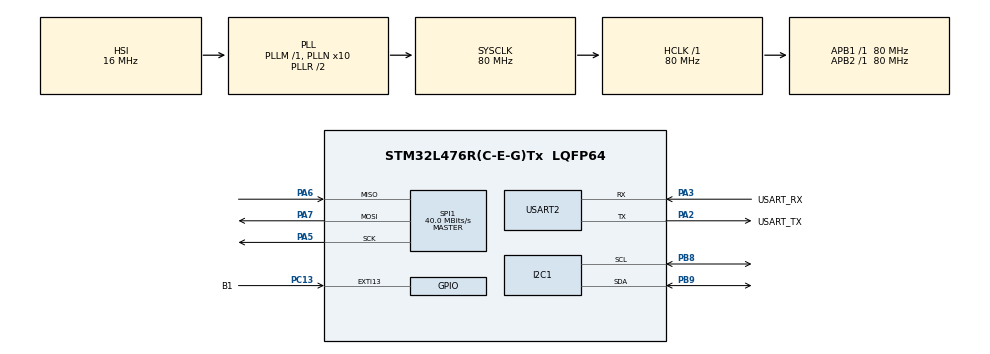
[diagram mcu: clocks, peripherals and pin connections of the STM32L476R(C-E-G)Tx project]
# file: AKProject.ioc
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I2C1.Timing=0x10D19CE4
Mcu.Family=STM32L4
Mcu.Name=STM32L476R(C-E-G)Tx
Mcu.Package=LQFP64
NVIC.EXTI15_10_IRQn=true\:0\:0\:false\:false\:true\:true\:true\:true
NVIC.PriorityGroup=NVIC_PRIORITYGROUP_4
NVIC.USART2_IRQn=true\:0\:0\:false\:false\:true\:true\:true\:true
PA13\ (JTMS-SWDIO).GPIO_Label=TMS
PA13\ (JTMS-SWDIO).Signal=SYS_JTMS-SWDIO
PA14\ (JTCK-SWCLK).GPIO_Label=TCK
PA14\ (JTCK-SWCLK).Signal=SYS_JTCK-SWCLK
PA2.GPIO_Label=USART_TX
PA2.GPIO_Mode=GPIO_MODE_AF_PP
PA2.GPIO_PuPd=GPIO_NOPULL
PA2.GPIO_Speed=GPIO_SPEED_FREQ_VERY_HIGH
PA2.Mode=Asynchronous
PA2.Signal=USART2_TX
PA3.GPIO_Label=USART_RX
PA3.GPIO_Mode=GPIO_MODE_AF_PP
PA3.GPIO_PuPd=GPIO_NOPULL
PA3.GPIO_Speed=GPIO_SPEED_FREQ_VERY_HIGH
PA3.Mode=Asynchronous
PA3.Signal=USART2_RX
PA5.Mode=Full_Duplex_Master
PA5.Signal=SPI1_SCK
PA6.Mode=Full_Duplex_Master
PA6.Signal=SPI1_MISO
PA7.Mode=Full_Duplex_Master
PA7.Signal=SPI1_MOSI
PB3\ (JTDO-TRACESWO).GPIO_Label=SWO
PB3\ (JTDO-TRACESWO).Signal=SYS_JTDO-SWO
PB8.Mode=I2C
PB8.Signal=I2C1_SCL
PB9.Mode=I2C
PB9.Signal=I2C1_SDA
PC13.GPIO_Label=B1
PC13.Signal=GPXTI13
PC14-OSC32_IN\ (PC14).Signal=RCC_OSC32_IN
PC15-OSC32_OUT\ (PC15).Signal=RCC_OSC32_OUT
PH0-OSC_IN\ (PH0).Signal=RCC_OSC_IN
PH1-OSC_OUT\ (PH1).Signal=RCC_OSC_OUT
ProjectManager.HeapSize=0x200
ProjectManager.StackSize=0x400
ProjectManager.TargetToolchain=STM32CubeIDE
RCC.ADCFreq_Value=64000000
RCC.AHBFreq_Value=80000000
RCC.APB1Freq_Value=80000000
RCC.APB1TimFreq_Value=80000000
RCC.APB2Freq_Value=80000000
RCC.APB2TimFreq_Value=80000000
RCC.CortexFreq_Value=80000000
RCC.HCLKFreq_Value=80000000
RCC.HSE_VALUE=8000000
RCC.HSI_VALUE=16000000
RCC.LSE_VALUE=32768
RCC.MSI_VALUE=4000000
RCC.PLLN=10
RCC.PLLSourceVirtual=RCC_PLLSOURCE_HSI
RCC.PREFETCH_ENABLE=1
RCC.SYSCLKFreq_VALUE=80000000
RCC.SYSCLKSource=RCC_SYSCLKSOURCE_PLLCLK
RCC.USBFreq_Value=64000000
RCC.VCOOutputFreq_Value=160000000
SPI1.CalculateBaudRate=40.0 MBits/s
SPI1.Direction=SPI_DIRECTION_2LINES
SPI1.Mode=SPI_MODE_MASTER
SPI1.VirtualType=VM_MASTER
USART2.VirtualMode-Asynchronous=VM_ASYNC
board=NUCLEO-L476RG

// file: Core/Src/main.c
/* USER CODE BEGIN Header */
/**
 ******************************************************************************
 * @file           : main.c
 * @brief          : Tic-Tac-Toe game for two players or against a computer, controlled via UART
 *
 * @external_files
 * - **ssd1306.h**: Library for controlling the SSD1306 OLED display, used for rendering the game interface.
 * - **ssd1306_tests.h**: Contains test functions for verifying the functionality of the SSD1306 display.
 * - **ssd1306_fonts.h**: Includes font definitions for rendering text on the SSD1306 OLED display.
 * - **sx1509.h**: Header for the SX1509 I/O expander, used for managing additional inputs/outputs.
 * - **gameConfiguration.h**: Defines game settings and parameters, such as board size and player settings.
 * - **fieldController.h**: Manages the state of the game board (e.g., placing pieces, checking for a win).
 * - **minimax.h**: Contains the Minimax algorithm used for the computer's moves in the single-player mode.
 * - **winChecks.h**: Contains functions for checking if a player has won the game by evaluating horizontal, vertical, and diagonal lines of pieces on the board.
 * - **findRandom.h**: Provides functions for finding random coordinates on the game field.
 * - **drawField.h**: Responsible for rendering the game field on the display.
 *
 *
 * This program implements the classic Tic-Tac-Toe game with options for single-player or
 * two-player modes. The game runs on the STM32L476RG microcontroller and uses the SSD1306 OLED
 * display along with UART for user interaction.
 *
 * The functionalities of the program include:
 * - **Board Size Selection**: Allows the player to choose from three different board sizes:
 *   - 3x3
 *   - 4x4
 *   - 5x5
 * - **Custom Mode**: In this mode, at random points during the game, 1 circle and 1 cross are removed from the board, adding an extra challenge.
 * - **Two-Player Mode**: Two players can compete against each other on the same board, taking turns to make their moves.
 * - **Single-Player Mode**: The player can play against the computer, which makes moves based on the Minimax algorithm.
 * - **Minimax Algorithm**: The computer analyzes possible moves, evaluates them, and selects the optimal move to increase its chances of winning.
 * - **Exit Game**: The player can exit the game without finishing it. The game remembers the state and can be resumed later.
 * - **Resume Game**: The player can resume the previous game from where it was left off.
 * - **View Last Game Results**: After a game ends, the player can view the result, showing who won or if it was a draw.
 * - **Switch Themes**: The player can toggle between a light and dark theme for display preferences.
 *
 * The project uses the following technologies:
 * - STM32L476RG Microcontroller
 * - SSD1306 OLED Display
 * - I2C and SPI Interfaces
 * - UART Interface for User Communication
 *
 * @author Kiryl Alishkevich, Igor Kondratowicz, Konrad Lupinski, Paweł Rutkowski
 * @date 2025-01-30
 *
 * @note This file is part of a larger system controlling the Tic-Tac-Toe game.
 ******************************************************************************
 * @attention
 *
 * Copyright (c) 2024 STMicroelectronics.
 * All rights reserved.
 *
 * This software is licensed under terms that can be found in the LICENSE file
 * in the root directory of this software component.
 * If no LICENSE file comes with this software, it is provided AS-IS.
 *
 *
 ******************************************************************************
 */
/* USER CODE END Header */
#include "main.h"

/* USER CODE BEGIN Includes */
#include "ssd1306.h"
#include "ssd1306_tests.h"
#include "ssd1306_fonts.h"
#include "sx1509.h"
#include <stdbool.h>

#include "gameConfiguration.h"
#include "fieldController.h"
#include "minimax.h"
#include "winChecks.h"
#include "findRandom.h"
#include "drawField.h"
/* USER CODE END Includes */

/**
 * @brief Structure for managing the I2C interface.
 *
 * The variable 'hi2c1' holds the configuration and state information for the I2C interface.
 * It is used in functions related to data transmission via I2C.
 */
I2C_HandleTypeDef hi2c1;

/**
 * @brief Structure for managing the SPI interface.
 *
 * The variable 'hspi1' holds the configuration and state information for the SPI interface.
 * It is used for communication with devices using the SPI protocol.
 */
SPI_HandleTypeDef hspi1;

/**
 * @brief Structure for managing the UART interface.
 *
 * The variable 'huart2' holds configuration and state data for the UART interface.
 * It is used for serial communication (UART) with external devices.
 */
UART_HandleTypeDef huart2;

void SystemClock_Config(void);
static void MX_GPIO_Init(void);
static void MX_I2C1_Init(void);
static void MX_SPI1_Init(void);
static void MX_USART2_UART_Init(void);

/* USER CODE BEGIN 0 */

/**
 * @brief Function reads a 16-bit value from the INA device via I2C.
 *
 * The function sends a read request to the specified register of the INA device
 * using the I2C protocol, and then receives a two-byte response, which it interprets
 * as a 16-bit value. In case of an error, it returns the value 0xFFFF.
 *
 * @param reg The register from which the value should be read
 * @return The value read from the register as a 16-bit number,
 *         or 0xFFFF in case of an error
 */
static uint16_t readWordINA(uint8_t reg) {
	HAL_StatusTypeDef ret;
	uint8_t buf[2] = { reg };
	ret = HAL_I2C_Master_Transmit(&SX1509_I2C_PORT, INAAddress, buf, 1,
	i2CTimeout);
	if (ret == HAL_OK) {
		ret = HAL_I2C_Master_Receive(&SX1509_I2C_PORT, INAAddress, buf, 2,
		i2CTimeout);
		if (ret == HAL_OK) {
			uint16_t tmp = buf[0];
			tmp <<= 8;
			tmp |= buf[1];
			return tmp;
		}
	}
	return 0xFFFF;
}

/**
 * @brief UART data reception buffer.
 *
 * The 'uart_rx_buffer' variable stores the received data from the UART port. It is used
 * in the function that handles interrupts or data reception via UART.
 */
uint8_t uart_rx_buffer;

/**
 * @brief Flag indicating whether the screen needs to be updated.
 *
 * This variable is set to 'true' when the screen needs to be refreshed, e.g., as a result
 * of changes in the game or menu state.
 */
bool isNeedToUpdate = true;
/**
 * @brief Flag indicating whether the game should continue.
 *
 * The variable is set to 'true' if the user wants to continue the game
 * or false when starting a new game.
 */
bool isGameToContinue = false;
/**
 * @brief Flag indicating whether single-player mode is enabled.
 *
 * This variable is set to 'true' if the game is being played in single-player mode
 * or 'false' if it's a two-player game.
 */
bool singlePlayerFlag = false;
/**
 * @brief Flag indicating whether the game is in custom mode.
 *
 * The variable is set to 'true' when the game is in custom mode.
 */
bool customModeFlag = false;
/**
 * @brief Number of moves until the next pair of cells will be removed.
 *
 * The variable stores the number of moves after which random cells
 * will be removed from the board. If it is set to '-1', cell removal is disabled.
 */
int movesToNextRemoval = -1;
/**
 * @brief Flag indicating whether the color theme should be inverted.
 *
 * The variable is set to 'true' if the color theme of the game
 * should be inverted, which might be useful in low-light conditions.
 */
bool invertThemeFlag = false;

/**
 * @brief Game states.
 *
 * The enum defines the different states in which the game can be.
 */
enum gameStates {
	mainMenu, game, options, gameResult,
};
/**
 * @brief Current game state.
 *
 * The variable holds the current state of the game, determining
 * which screen or mode is currently active.
 */
enum gameStates currentState = mainMenu;

char lastWinner;

/**
 * @brief X coordinate of the active cell.
 *
 * The variable stores the current position of the active cell on the board
 * along the X axis. This helps track which cell is currently selected by the player.
 */
int activeCellX = 0;
/**
 * @brief Y coordinate of the active cell.
 *
 * The variable stores the current position of the active cell on the board
 * along the Y axis. This helps track which cell is currently selected by the player.
 */
int activeCellY = 0;

// Main Menu
/**
 * @brief Active button in the main menu.
 *
 * The variable stores the index of the currently active button in
 * the main menu. Its value can range from 1 to 4, depending on
 * the selected button.
 */
int activeMainButton = 2;
/**
 * @brief Number of buttons in the main menu.
 *
 * The variable stores the number of buttons in the main menu. This helps
 * manage displaying and selecting the buttons by the user.
 */
int mainMenuButtonsCount = 4;
/**
 * @brief Array of button labels in the main menu.
 *
 * The variable holds the text associated with each button
 * in the main menu.
 */
char mainMenuButtons[][WIDTH / mainFontWidth] = { "-Continue", "New 2p",
		"New 1p", "Options" };

// Options Menu
/**
 * @brief Active button in the options menu.
 *
 * The variable stores the index of the currently active button in the
 * options menu.
 */
int activeOptionButton = 1;
/**
 * @brief Number of buttons in the options menu.
 *
 * The variable stores the number of buttons in the options
 * menu, allowing easy management of the user's option selection.
 */
int optionsButtonsCount = 5;
/**
 * @brief Number of buttons related to board size in the options menu.
 *
 * The variable defines the number of buttons related to the
 * board size selection.
 */
int sizeButtonsCount = 3;
/**
 * @brief Array of button labels in the options menu.
 *
 * The variable holds the text associated with each button in the options menu.
 */
char optionsButtons[][WIDTH / mainFontWidth] = { "+5x5", "-4x4", "-3x3",
		"-Custom Rules", "-Light theme" };

/**
 * @brief Displays a menu on the OLED screen with the active button highlighted.
 *
 * The function renders a menu on the OLED display, where each
 * button is centered on the screen. The active button is highlighted,
 * and the other buttons are displayed as text. The highlighting of the active
 * button involves drawing a rectangle around it.
 *
 * @param buttons An array containing the text of the buttons in the menu
 * @param buttonsCount The number of buttons in the menu
 * @param activeButton The index of the active button
 */
void displayMenu(char buttons[][WIDTH / mainFontWidth], int buttonsCount,
		int activeButton) {
	if (invertThemeFlag) ssd1306_Fill(White);
	int gap = (HEIGHT - buttonsCount * mainFontHeight) / (buttonsCount + 1);
	int selectionY = gap * activeButton
			+ mainFontHeight * (activeButton - 1)- selectionPadding;

	ssd1306_DrawRectangle(15, selectionY, 113,
			selectionY + mainFontHeight + selectionPadding, invertThemeFlag ? Black : White);
	for (int i = 0; i < buttonsCount; i++) {
		int startX = (WIDTH - strlen(buttons[i]) * mainFontWidth) / 2;
		ssd1306_SetCursor(startX, gap * (i + 1) + mainFontHeight * i);
		ssd1306_WriteString(buttons[i], Font_7x10, invertThemeFlag ? Black : White);
	}
}

bool playerFlag = true; // true = player 1, false = player 2

/**
 * @brief Function sets the game's continuation state.
 *
 * The function changes the value of the `isGameToContinue` variable and updates
 * the first button in the main menu to either the "+" symbol or the "-" symbol,
 * indicating whether the game is to continue.
 *
 * @param state The game's state, indicating whether the game should continue (true) or not (false).
 */
void setGameToContinue(bool state){
	isGameToContinue = state;
	mainMenuButtons[0][0] = state ? '+' : '-';
}

/**
 * @brief Function initializes the settings for a new game.
 *
 * The function resets all relevant variables and prepares the game to start.
 * The game field is cleared, the game continuation state is set to "false",
 * the player flag is initialized to true, and the coordinates of the active cell
 * are set to (0, 0).
 */
void setupNewGame() {
	clearField();
	setGameToContinue(false);
	playerFlag = true;
	activeCellX = 0;
	activeCellY = 0;
}

/**
 * @brief Function displays the end screen after the game, showing the winner.
 *
 * The function sets the active cell coordinates to -1, redraws the game field in
 * its final state, and then displays an appropriate message on the screen
 * indicating the result of the game (a draw or the victory of one player).
 *
 * @param winner A character indicating the game result:
 *               'd' means a draw,
 *               'P1' means player 1 won,
 *               'P2' means player 2 won,
 *               and '\0' means no winner.
 */
void winScreen(char winner) {
	activeCellX = -1;
	activeCellY = -1;
	drawField(field, fieldSize, activeCellX, activeCellY, true, invertThemeFlag);
	ssd1306_SetCursor(1, 1);
	if (winner == 'd') {
		ssd1306_WriteString("Draw!", Font_6x8, invertThemeFlag ? White : Black);
		return;
	}
	if (winner != '\0') {
		ssd1306_WriteString(winner == firstPlayerChar ? "P1 Won!" : "P2 Won!",
				Font_6x8, invertThemeFlag ? White : Black);
		return;
	}
}

/**
 * @brief Function draws the game field and checks if the game has ended.
 *
 * The function checks the game result, and if a player has won, it calls the end screen
 * with the appropriate winner message. If the game is not finished, it redraws the game field
 * and displays whose turn it is.
 */
void drawGame() {
	char winner = checkWin(field, fieldSize);
	if (winner != '\0'){
		lastWinner = winner;
		currentState = gameResult;
		return winScreen(winner);
	}
	drawField(field, fieldSize, activeCellX, activeCellY, false, invertThemeFlag);
	ssd1306_SetCursor(1, 1);
	ssd1306_WriteString(playerFlag ? "Player 1" : "Player 2", Font_6x8, invertThemeFlag ? Black : White);
}

/**
 * @brief Function makes the computer's move in the game.
 *
 * This function toggles the player flag, redraws the game field, and then makes the computer's move.
 * After the computer makes its move, the player flag is toggled again to indicate it is the player's turn.
 */
void computersTurn() {
	playerFlag = !playerFlag;
	ssd1306_Fill(Black);
	drawGame();
	ssd1306_UpdateScreen();
	ComputerMove(field, fieldSize);
	playerFlag = !playerFlag;
}

/**
 * @brief Function handles input events from the main menu.
 *
 * The function responds to input events from the main menu, such as pressing buttons
 * and changes the active button in the menu.
 * */
void mainMenuInputEvent() {
	switch (uart_rx_buffer) {
	case 'w':
		activeMainButton--;
		if (activeMainButton < 1) {
			activeMainButton = 1;
			isNeedToUpdate = false;
		}
		break;
	case 's':
		activeMainButton++;
		if (activeMainButton > mainMenuButtonsCount) {
			activeMainButton = mainMenuButtonsCount;
			isNeedToUpdate = false;
		}
		break;
	case '\n':
	case '\r':
		switch (activeMainButton) {
		case 1:
			if (isGameToContinue) {
				currentState = game;
			}
			break;
		case 2:
			setupNewGame();
			singlePlayerFlag = false;
			currentState = game;
			break;
		case 3:
			setupNewGame();
			singlePlayerFlag = true;
			currentState = game;
			break;
		case 4:
			currentState = options;
		}
		break;
	}
}

/**
 * @brief Function handles input events during the game.
 *
 * The function responds to player input events for movement and for confirming a move by placing
 * a symbol on the game field. It also handles custom mode logic, where after a certain number of moves,
 * random symbols may be removed from the field. In single-player mode, it triggers the computer's
 * turn after the player's move.
 */
void gameInputEvent() {
	switch (uart_rx_buffer) {
	case 'a':
		activeCellX--;
		if (activeCellX < 0) {
			activeCellX = 0;
		}
		break;
	case 'd':
		activeCellX++;
		if (activeCellX > fieldSize - 1) {
			activeCellX = fieldSize - 1;
		}
		break;
	case 'w':
		activeCellY--;
		if (activeCellY < 0) {
			activeCellY = 0;
		}
		break;
	case 's':
		activeCellY++;
		if (activeCellY > fieldSize - 1) {
			activeCellY = fieldSize - 1;
		}
		break;
	case '\n':
	case '\r':
		setGameToContinue(true);
		bool isFree = placeChar(activeCellX, activeCellY,
				playerFlag ? firstPlayerChar : secondPlayerChar);
		if (isFree && customModeFlag){
			if (movesToNextRemoval <= -1){
				movesToNextRemoval = singlePlayerFlag ? rand() % 3 + 2 : (rand() % 3 + 2) * 2;

			} else if (movesToNextRemoval == 0) {
				int x1, x2, y1, y2;
				if (findRandomXO(field, fieldSize, &x1, &y1, &x2, &y2)){
					field[y1][x1] = '\0';
					field[y2][x2] = '\0';
				}
			}
			movesToNextRemoval--;
		}
		if (singlePlayerFlag && isFree) {
			computersTurn();
		} else {
			playerFlag = isFree ? !playerFlag : playerFlag;
		}
		break;
	case 'q':
		currentState = mainMenu;
		break;
	}
}

/**
 * @brief Function handles input events in the options menu.
 *
 * The function responds to input events related to navigation in the options menu
 * and updating the game settings. It changes the field size, toggles custom mode,
 * and switches the color theme based on the selected option.
 */
void optionsInputEvent() {
	switch (uart_rx_buffer) {
	case 'w':
		activeOptionButton--;
		if (activeOptionButton < 1) {
			activeOptionButton = 1;
			isNeedToUpdate = false;
		}
		break;
	case 's':
		activeOptionButton++;
		if (activeOptionButton > optionsButtonsCount) {
			activeOptionButton = optionsButtonsCount;
			isNeedToUpdate = false;
		}
		break;
	case '\n':
	case '\r':
		if (activeOptionButton <= sizeButtonsCount) {
			setupNewGame();
			for (int i = 0; i < sizeButtonsCount; i++)
				optionsButtons[i][0] = '-';
			fieldSize = optionsButtons[activeOptionButton - 1][1] - '0';

			optionsButtons[activeOptionButton - 1][0] = '+';
		} else if (activeOptionButton == optionsButtonsCount - 1) {
			optionsButtons[optionsButtonsCount - 2][0] =
					optionsButtons[optionsButtonsCount - 2][0] == '+' ?
							'-' : '+';
			customModeFlag = !customModeFlag;
		} else {
			optionsButtons[optionsButtonsCount - 1][0] =
								optionsButtons[optionsButtonsCount - 1][0] == '+' ?
										'-' : '+';
			invertThemeFlag = !invertThemeFlag;
		}
		break;
	case 'q':
		currentState = mainMenu;
		break;
	}
}

/**
 * @brief Function handles input events on the game result screen.
 *
 * The function responds to input events where the player can choose to return to the
 * main menu after the game ends by pressing the 'q' key.
 */
void gameResultInputEvent(){
	switch (uart_rx_buffer) {
	case 'q':
		currentState = mainMenu;
		break;
	}
}

/**
 * @brief UART receive complete callback function.
 *
 * The function is called when data reception via UART is completed. Depending on the
 * current game state, it triggers the appropriate input handling function for
 * the main menu, game, options, or game result screens.
 *
 * @param huart Pointer to the UART handle structure that indicates which UART has completed the transmission.
 */
void HAL_UART_RxCpltCallback(UART_HandleTypeDef *huart) {
	if (huart == &huart2) {
		isNeedToUpdate = true;
		switch (currentState) {
		case mainMenu:
			mainMenuInputEvent();
			break;
		case game:
			gameInputEvent();
			break;
		case options:
			optionsInputEvent();
			break;
		case gameResult:
			gameResultInputEvent();
			break;
		}
	}
}

/* USER CODE END 0 */

int main(void) {

	/* USER CODE BEGIN 1 */
	uint16_t reg = 0;
	/* USER CODE END 1 */

	/* MCU Configuration--------------------------------------------------------*/

	/* Reset of all peripherals, Initializes the Flash interface and the Systick. */
	HAL_Init();

	/* Configure the system clock */
	SystemClock_Config();

	/* Initialize all configured peripherals */
	MX_GPIO_Init();
	MX_I2C1_Init();
	MX_SPI1_Init();
	MX_USART2_UART_Init();
	/* USER CODE BEGIN 2 */

	ssd1306_Init();
	srand(time(NULL));

	/* USER CODE END 2 */

	/* Infinite loop */
	/* USER CODE BEGIN WHILE */
	while (1) {
		if (isNeedToUpdate) {
			isNeedToUpdate = false;
			ssd1306_Fill(Black);
			switch (currentState) {
			case mainMenu:
				displayMenu(mainMenuButtons, mainMenuButtonsCount,
						activeMainButton);
				break;
			case game:
				drawGame();
				break;
			case options:
				displayMenu(optionsButtons, optionsButtonsCount,
						activeOptionButton);
				break;
			case gameResult:
				winScreen(lastWinner);
				break;
			}
			ssd1306_UpdateScreen();
		}
		HAL_UART_Receive_IT(&huart2, &uart_rx_buffer, 1);
		/* USER CODE END WHILE */

	}
}

void SystemClock_Config(void) {
	RCC_OscInitTypeDef RCC_OscInitStruct = { 0 };
	RCC_ClkInitTypeDef RCC_ClkInitStruct = { 0 };

	/** Configure the main internal regulator output voltage
	 */
	if (HAL_PWREx_ControlVoltageScaling(PWR_REGULATOR_VOLTAGE_SCALE1)
			!= HAL_OK) {
		Error_Handler();
	}

	/** Initializes the RCC Oscillators according to the specified parameters
	 * in the RCC_OscInitTypeDef structure.
	 */
	RCC_OscInitStruct.OscillatorType = RCC_OSCILLATORTYPE_HSI;
	RCC_OscInitStruct.HSIState = RCC_HSI_ON;
	RCC_OscInitStruct.HSICalibrationValue = RCC_HSICALIBRATION_DEFAULT;
	RCC_OscInitStruct.PLL.PLLState = RCC_PLL_ON;
	RCC_OscInitStruct.PLL.PLLSource = RCC_PLLSOURCE_HSI;
	RCC_OscInitStruct.PLL.PLLM = 1;
	RCC_OscInitStruct.PLL.PLLN = 10;
	RCC_OscInitStruct.PLL.PLLP = RCC_PLLP_DIV7;
	RCC_OscInitStruct.PLL.PLLQ = RCC_PLLQ_DIV2;
	RCC_OscInitStruct.PLL.PLLR = RCC_PLLR_DIV2;
	if (HAL_RCC_OscConfig(&RCC_OscInitStruct) != HAL_OK) {
		Error_Handler();
	}

	/** Initializes the CPU, AHB and APB buses clocks
	 */
	RCC_ClkInitStruct.ClockType = RCC_CLOCKTYPE_HCLK | RCC_CLOCKTYPE_SYSCLK
			| RCC_CLOCKTYPE_PCLK1 | RCC_CLOCKTYPE_PCLK2;
	RCC_ClkInitStruct.SYSCLKSource = RCC_SYSCLKSOURCE_PLLCLK;
	RCC_ClkInitStruct.AHBCLKDivider = RCC_SYSCLK_DIV1;
	RCC_ClkInitStruct.APB1CLKDivider = RCC_HCLK_DIV1;
	RCC_ClkInitStruct.APB2CLKDivider = RCC_HCLK_DIV1;

	if (HAL_RCC_ClockConfig(&RCC_ClkInitStruct, FLASH_LATENCY_4) != HAL_OK) {
		Error_Handler();
	}
}

static void MX_I2C1_Init(void) {

	/* USER CODE BEGIN I2C1_Init 0 */
	GPIO_InitTypeDef GPIO_InitStruct;
	RCC_PeriphCLKInitTypeDef PeriphClkInit = { 0 };
	/** Initializes the peripherals clock  */
	PeriphClkInit.PeriphClockSelection = RCC_PERIPHCLK_I2C1;
	PeriphClkInit.Usart2ClockSelection = RCC_I2C1CLKSOURCE_PCLK1;
	HAL_RCCEx_PeriphCLKConfig(&PeriphClkInit);

	/* Enable Peripheral clock */
	__HAL_RCC_I2C1_CLK_ENABLE();

	__HAL_RCC_GPIOB_CLK_ENABLE();
	/**USART2 GPIO Configuration
	 PA2     ------> USART2_TX
	 PA3     ------> USART2_RX
	 */
	GPIO_InitStruct.Pin = GPIO_PIN_8 | GPIO_PIN_9;
	GPIO_InitStruct.Mode = GPIO_MODE_AF_PP;
	GPIO_InitStruct.Pull = GPIO_PULLUP;
	GPIO_InitStruct.Speed = GPIO_SPEED_FREQ_VERY_HIGH;
	GPIO_InitStruct.Alternate = GPIO_AF4_I2C1;
	HAL_GPIO_Init(GPIOB, &GPIO_InitStruct);

	/* USER CODE END I2C1_Init 0 */

	hi2c1.Instance = I2C1;
	hi2c1.Init.Timing = 0x10D19CE4;
	hi2c1.Init.OwnAddress1 = 0;
	hi2c1.Init.AddressingMode = I2C_ADDRESSINGMODE_7BIT;
	hi2c1.Init.DualAddressMode = I2C_DUALADDRESS_DISABLE;
	hi2c1.Init.OwnAddress2 = 0;
	hi2c1.Init.OwnAddress2Masks = I2C_OA2_NOMASK;
	hi2c1.Init.GeneralCallMode = I2C_GENERALCALL_DISABLE;
	hi2c1.Init.NoStretchMode = I2C_NOSTRETCH_DISABLE;
	if (HAL_I2C_Init(&hi2c1) != HAL_OK) {
		Error_Handler();
	}

	/** Configure Analogue filter
	 */
	if (HAL_I2CEx_ConfigAnalogFilter(&hi2c1, I2C_ANALOGFILTER_ENABLE)
			!= HAL_OK) {
		Error_Handler();
	}

	/** Configure Digital filter
	 */
	if (HAL_I2CEx_ConfigDigitalFilter(&hi2c1, 0) != HAL_OK) {
		Error_Handler();
	}

}

static void MX_SPI1_Init(void) {

	/* SPI1 parameter configuration*/
	hspi1.Instance = SPI1;
	hspi1.Init.Mode = SPI_MODE_MASTER;
	hspi1.Init.Direction = SPI_DIRECTION_2LINES;
	hspi1.Init.DataSize = SPI_DATASIZE_4BIT;
	hspi1.Init.CLKPolarity = SPI_POLARITY_LOW;
	hspi1.Init.CLKPhase = SPI_PHASE_1EDGE;
	hspi1.Init.NSS = SPI_NSS_SOFT;
	hspi1.Init.BaudRatePrescaler = SPI_BAUDRATEPRESCALER_2;
	hspi1.Init.FirstBit = SPI_FIRSTBIT_MSB;
	hspi1.Init.TIMode = SPI_TIMODE_DISABLE;
	hspi1.Init.CRCCalculation = SPI_CRCCALCULATION_DISABLE;
	hspi1.Init.CRCPolynomial = 7;
	hspi1.Init.CRCLength = SPI_CRC_LENGTH_DATASIZE;
	hspi1.Init.NSSPMode = SPI_NSS_PULSE_ENABLE;
	if (HAL_SPI_Init(&hspi1) != HAL_OK) {
		Error_Handler();
	}

}

static void MX_USART2_UART_Init(void) {

	huart2.Instance = USART2;
	huart2.Init.BaudRate = 115200;
	huart2.Init.WordLength = UART_WORDLENGTH_8B;
	huart2.Init.StopBits = UART_STOPBITS_1;
	huart2.Init.Parity = UART_PARITY_NONE;
	huart2.Init.Mode = UART_MODE_TX_RX;
	huart2.Init.HwFlowCtl = UART_HWCONTROL_NONE;
	huart2.Init.OverSampling = UART_OVERSAMPLING_16;
	huart2.Init.OneBitSampling = UART_ONE_BIT_SAMPLE_DISABLE;
	huart2.AdvancedInit.AdvFeatureInit = UART_ADVFEATURE_NO_INIT;
	if (HAL_UART_Init(&huart2) != HAL_OK) {
		Error_Handler();
	}

}

static void MX_GPIO_Init(void) {
	GPIO_InitTypeDef GPIO_InitStruct = { 0 };

	/* GPIO Ports Clock Enable */
	__HAL_RCC_GPIOC_CLK_ENABLE();
	__HAL_RCC_GPIOH_CLK_ENABLE();
	__HAL_RCC_GPIOA_CLK_ENABLE();
	__HAL_RCC_GPIOB_CLK_ENABLE();

	/*Configure GPIO pin : B1_Pin */
	GPIO_InitStruct.Pin = B1_Pin;
	GPIO_InitStruct.Mode = GPIO_MODE_IT_RISING;
	GPIO_InitStruct.Pull = GPIO_NOPULL;
	HAL_GPIO_Init(B1_GPIO_Port, &GPIO_InitStruct);

	/* EXTI interrupt init*/
	HAL_NVIC_SetPriority(EXTI15_10_IRQn, 0, 0);
	HAL_NVIC_EnableIRQ(EXTI15_10_IRQn);

}

void Error_Handler(void) {
	__disable_irq();
	while (1) {
	}
}
